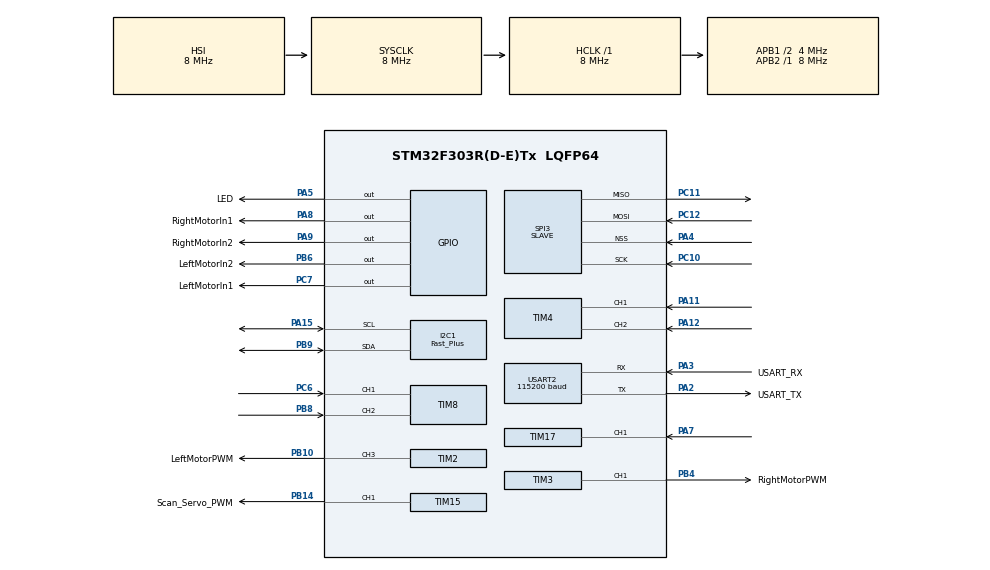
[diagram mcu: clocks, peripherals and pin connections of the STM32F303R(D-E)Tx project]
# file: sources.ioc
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CRC.CRCLength=CRC_POLYLENGTH_8B
CRC.DefaultInitValueUse=DEFAULT_INIT_VALUE_DISABLE
CRC.DefaultPolynomialUse=DEFAULT_POLYNOMIAL_DISABLE
CRC.GeneratingPolynomial=X2+X1+X0
Dma.Request0=TIM2_CH3
Dma.Request1=TIM3_CH1/TRIG
Dma.Request2=USART2_TX
Dma.Request3=SPI3_RX
Dma.Request4=SPI3_TX
Dma.Request5=TIM15_CH1/UP/TRIG/COM
Dma.SPI3_RX.3.Direction=DMA_PERIPH_TO_MEMORY
Dma.SPI3_RX.3.Instance=DMA2_Channel1
Dma.SPI3_RX.3.MemDataAlignment=DMA_MDATAALIGN_BYTE
Dma.SPI3_RX.3.MemInc=DMA_MINC_ENABLE
Dma.SPI3_RX.3.Mode=DMA_NORMAL
Dma.SPI3_RX.3.PeriphDataAlignment=DMA_PDATAALIGN_BYTE
Dma.SPI3_RX.3.PeriphInc=DMA_PINC_DISABLE
Dma.SPI3_RX.3.Priority=DMA_PRIORITY_VERY_HIGH
Dma.SPI3_TX.4.Direction=DMA_MEMORY_TO_PERIPH
Dma.SPI3_TX.4.Instance=DMA2_Channel2
Dma.SPI3_TX.4.MemDataAlignment=DMA_MDATAALIGN_BYTE
Dma.SPI3_TX.4.MemInc=DMA_MINC_ENABLE
Dma.SPI3_TX.4.Mode=DMA_NORMAL
Dma.SPI3_TX.4.PeriphDataAlignment=DMA_PDATAALIGN_BYTE
Dma.SPI3_TX.4.PeriphInc=DMA_PINC_DISABLE
Dma.SPI3_TX.4.Priority=DMA_PRIORITY_VERY_HIGH
Dma.TIM15_CH1/UP/TRIG/COM.5.Direction=DMA_MEMORY_TO_PERIPH
Dma.TIM15_CH1/UP/TRIG/COM.5.Instance=DMA1_Channel5
Dma.TIM15_CH1/UP/TRIG/COM.5.MemDataAlignment=DMA_MDATAALIGN_HALFWORD
Dma.TIM15_CH1/UP/TRIG/COM.5.MemInc=DMA_MINC_DISABLE
Dma.TIM15_CH1/UP/TRIG/COM.5.Mode=DMA_CIRCULAR
Dma.TIM15_CH1/UP/TRIG/COM.5.PeriphDataAlignment=DMA_PDATAALIGN_HALFWORD
Dma.TIM15_CH1/UP/TRIG/COM.5.PeriphInc=DMA_PINC_DISABLE
Dma.TIM15_CH1/UP/TRIG/COM.5.Priority=DMA_PRIORITY_HIGH
Dma.TIM2_CH3.0.Direction=DMA_MEMORY_TO_PERIPH
Dma.TIM2_CH3.0.Instance=DMA1_Channel1
Dma.TIM2_CH3.0.MemDataAlignment=DMA_MDATAALIGN_WORD
Dma.TIM2_CH3.0.MemInc=DMA_MINC_DISABLE
Dma.TIM2_CH3.0.Mode=DMA_CIRCULAR
Dma.TIM2_CH3.0.PeriphDataAlignment=DMA_PDATAALIGN_WORD
Dma.TIM2_CH3.0.PeriphInc=DMA_PINC_DISABLE
Dma.TIM2_CH3.0.Priority=DMA_PRIORITY_HIGH
Dma.TIM3_CH1/TRIG.1.Direction=DMA_MEMORY_TO_PERIPH
Dma.TIM3_CH1/TRIG.1.Instance=DMA1_Channel6
Dma.TIM3_CH1/TRIG.1.MemDataAlignment=DMA_MDATAALIGN_WORD
Dma.TIM3_CH1/TRIG.1.MemInc=DMA_MINC_DISABLE
Dma.TIM3_CH1/TRIG.1.Mode=DMA_CIRCULAR
Dma.TIM3_CH1/TRIG.1.PeriphDataAlignment=DMA_PDATAALIGN_WORD
Dma.TIM3_CH1/TRIG.1.PeriphInc=DMA_PINC_DISABLE
Dma.TIM3_CH1/TRIG.1.Priority=DMA_PRIORITY_HIGH
Dma.USART2_TX.2.Direction=DMA_MEMORY_TO_PERIPH
Dma.USART2_TX.2.Instance=DMA1_Channel7
Dma.USART2_TX.2.MemDataAlignment=DMA_MDATAALIGN_BYTE
Dma.USART2_TX.2.MemInc=DMA_MINC_ENABLE
Dma.USART2_TX.2.Mode=DMA_NORMAL
Dma.USART2_TX.2.PeriphDataAlignment=DMA_PDATAALIGN_BYTE
Dma.USART2_TX.2.PeriphInc=DMA_PINC_DISABLE
Dma.USART2_TX.2.Priority=DMA_PRIORITY_MEDIUM
FREERTOS.Events01=messageReceived,Dynamic,NULL
FREERTOS.Mutexes01=logMutex,Static,logMutexControlBlock,Depleted
FREERTOS.Queues01=controllerMessageQueue,1,struct Message,0,Static,controllerMessageQueueBuffer,controllerMessageQueueControlBlock;controllerInternalMessageQueue,2,struct InternalMessage,0,Static,controllerInternalMessageQueueBuffer,controllerInternalMessageQueueControlBlock;syscomTxMessageQueue,5,struct InternalMessage,0,Static,syscomTxMessageQueueBuffer,syscomTxMessageQueueControlBlock
FREERTOS.Tasks01=controllerTask,24,320,startController,Default,NULL,Static,controllerTaskBuffer,controllerTaskControlBlock;feedbackTask,24,320,startFeedbackTask,Default,NULL,Static,feedbackTaskBuffer,feedbackTaskControlBlock;syscomTask,32,320,startSyscomTask,Default,NULL,Static,syscomTaskBuffer,syscomTaskControlBlock;scanTask,24,320,startScanTask,Default,NULL,Static,scanTaskBuffer,scanTaskControlBlock
FREERTOS.Timers01=syscomMasterTriggerTimer,syscomMasterTriggerTimerCallback,osTimerOnce,As weak,NULL,Static,syscomMasterTriggerTimerControlBlock
FREERTOS.configTOTAL_HEAP_SIZE=16192
FREERTOS.configUSE_NEWLIB_REENTRANT=1
FREERTOS.configUSE_PREEMPTION=1
I2C1.I2C_Speed_Mode=I2C_Fast_Plus
I2C1.Timing=0x00100001
Mcu.Family=STM32F3
Mcu.Name=STM32F303R(D-E)Tx
Mcu.Package=LQFP64
Mcu.UserConstants=SERVO_TIM15_PERIOD,(20000-1);TIM3_PRESCALER,0;TIM2_PERIOD,(10000-1);TIM16_PERIOD,(8000-1);TIM3_PERIOD,(10000 - 1);TIM17_PRESCALER,(16-1);SERVO_TIM15_PRESCALER,(8-1);TIM2_PRESCALER,0;TIM17_PERIOD,(50000-1);TIM16_PRESCALER,(2000-1)
NVIC.DMA1_Channel1_IRQn=true\:5\:0\:false\:false\:true\:true\:false\:true\:true
NVIC.DMA1_Channel5_IRQn=true\:5\:0\:false\:false\:true\:true\:false\:true\:true
NVIC.DMA1_Channel6_IRQn=true\:5\:0\:false\:false\:true\:true\:false\:true\:true
NVIC.DMA1_Channel7_IRQn=true\:5\:0\:false\:false\:true\:true\:false\:true\:true
NVIC.DMA2_Channel1_IRQn=true\:5\:0\:false\:false\:true\:true\:false\:true\:true
NVIC.DMA2_Channel2_IRQn=true\:5\:0\:false\:false\:true\:true\:false\:true\:true
NVIC.FPU_IRQn=true\:5\:0\:false\:false\:true\:true\:true\:false\:true
NVIC.PriorityGroup=NVIC_PRIORITYGROUP_4
NVIC.SPI3_IRQn=true\:5\:0\:false\:false\:true\:true\:true\:true\:true
NVIC.TIM1_TRG_COM_TIM17_IRQn=true\:5\:0\:false\:false\:true\:true\:true\:true\:true
NVIC.TIM6_DAC_IRQn=true\:15\:0\:false\:false\:true\:false\:false\:true\:true
NVIC.TimeBase=TIM6_DAC_IRQn
NVIC.TimeBaseIP=TIM6
NVIC.USART2_IRQn=true\:5\:0\:false\:false\:true\:true\:true\:true\:true
PA11.Signal=S_TIM4_CH1
PA12.Signal=S_TIM4_CH2
PA15.Mode=I2C
PA15.Signal=I2C1_SCL
PA2.GPIO_Label=USART_TX
PA2.GPIO_Mode=GPIO_MODE_AF_PP
PA2.GPIO_PuPd=GPIO_NOPULL
PA2.GPIO_Speed=GPIO_SPEED_FREQ_LOW
PA2.Mode=Asynchronous
PA2.Signal=USART2_TX
PA3.GPIO_Label=USART_RX
PA3.GPIO_Mode=GPIO_MODE_AF_PP
PA3.GPIO_PuPd=GPIO_NOPULL
PA3.GPIO_Speed=GPIO_SPEED_FREQ_LOW
PA3.Mode=Asynchronous
PA3.Signal=USART2_RX
PA4.Mode=NSS_Signal_Hard_Input
PA4.Signal=SPI3_NSS
PA5.GPIO_Label=LED
PA5.GPIO_Mode=GPIO_MODE_OUTPUT_PP
PA5.GPIO_PuPd=GPIO_NOPULL
PA5.GPIO_Speed=GPIO_SPEED_FREQ_LOW
PA5.Signal=GPIO_Output
PA7.GPIO_ModeDefaultPP=GPIO_MODE_AF_PP
PA7.Signal=S_TIM17_CH1
PA8.GPIO_Label=RightMotorIn1
PA8.GPIO_ModeDefaultOutputPP=GPIO_MODE_OUTPUT_OD
PA8.GPIO_PuPd=GPIO_NOPULL
PA8.Signal=GPIO_Output
PA9.GPIO_Label=RightMotorIn2
PA9.GPIO_ModeDefaultOutputPP=GPIO_MODE_OUTPUT_OD
PA9.GPIO_PuPd=GPIO_NOPULL
PA9.Signal=GPIO_Output
PB10.GPIO_Label=LeftMotorPWM
PB10.GPIO_ModeDefaultPP=GPIO_MODE_AF_OD
PB10.Signal=S_TIM2_CH3
PB14.GPIO_Label=Scan_Servo_PWM
PB14.GPIO_ModeDefaultPP=GPIO_MODE_AF_PP
PB14.GPIO_Speed=GPIO_SPEED_FREQ_HIGH
PB14.Signal=S_TIM15_CH1
PB4.GPIO_Label=RightMotorPWM
PB4.GPIO_ModeDefaultPP=GPIO_MODE_AF_OD
PB4.Signal=S_TIM3_CH1
PB6.GPIO_Label=LeftMotorIn2
PB6.GPIO_ModeDefaultOutputPP=GPIO_MODE_OUTPUT_OD
PB6.GPIO_PuPd=GPIO_NOPULL
PB6.Signal=GPIO_Output
PB8.Signal=S_TIM8_CH2
PB9.Mode=I2C
PB9.Signal=I2C1_SDA
PC10.Mode=Full_Duplex_Slave
PC10.Signal=SPI3_SCK
PC11.Mode=Full_Duplex_Slave
PC11.Signal=SPI3_MISO
PC12.Mode=Full_Duplex_Slave
PC12.Signal=SPI3_MOSI
PC6.Signal=S_TIM8_CH1
PC7.GPIO_Label=LeftMotorIn1
PC7.GPIO_ModeDefaultOutputPP=GPIO_MODE_OUTPUT_OD
PC7.GPIO_PuPd=GPIO_NOPULL
PC7.Signal=GPIO_Output
ProjectManager.HeapSize=0x200
ProjectManager.StackSize=0x400
ProjectManager.TargetToolchain=STM32CubeIDE
RCC.AHBFreq_Value=8000000
RCC.APB1CLKDivider=RCC_HCLK_DIV2
RCC.APB1Freq_Value=4000000
RCC.APB1TimFreq_Value=8000000
RCC.APB2Freq_Value=8000000
RCC.APB2TimFreq_Value=8000000
RCC.CortexFreq_Value=8000000
RCC.HCLKFreq_Value=8000000
RCC.HSE_VALUE=8000000
RCC.HSI_VALUE=8000000
RCC.I2c2ClockSelection=RCC_I2C2CLKSOURCE_SYSCLK
RCC.LSE_VALUE=32768
RCC.PLLM=8
RCC.PLLMUL=RCC_PLL_MUL9
RCC.PLLN=336
RCC.PLLP=RCC_PLLP_DIV4
RCC.PLLQ=7
RCC.RCC_PLLsource_Clock_Source_FROM_HSE=RCC_HSE_PREDIV_DIV2
RCC.SYSCLKFreq_VALUE=8000000
RCC.USBFreq_Value=72000000
SH.S_TIM15_CH1.0=TIM15_CH1,PWM Generation1 CH1
SH.S_TIM17_CH1.0=TIM17_CH1,Input_Capture1_from_TI1
SH.S_TIM2_CH3.0=TIM2_CH3,PWM Generation3 CH3
SH.S_TIM3_CH1.0=TIM3_CH1,PWM Generation1 CH1
SH.S_TIM4_CH1.0=TIM4_CH1,Encoder_Interface
SH.S_TIM4_CH2.0=TIM4_CH2,Encoder_Interface
SH.S_TIM8_CH1.0=TIM8_CH1,Encoder_Interface
SH.S_TIM8_CH2.0=TIM8_CH2,Encoder_Interface
SPI3.CLKPhase=SPI_PHASE_2EDGE
SPI3.CLKPolarity=SPI_POLARITY_HIGH
SPI3.DataSize=SPI_DATASIZE_8BIT
SPI3.Direction=SPI_DIRECTION_2LINES
SPI3.Mode=SPI_MODE_SLAVE
SPI3.VirtualNSS=VM_NSSHARD
SPI3.VirtualType=VM_SLAVE
TIM15.AutoReloadPreload=TIM_AUTORELOAD_PRELOAD_ENABLE
TIM15.Channel-PWM\ Generation1\ CH1=TIM_CHANNEL_1
TIM15.OCPolarity_1=TIM_OCPOLARITY_HIGH
TIM15.Period=SERVO_TIM15_PERIOD
TIM15.Prescaler=SERVO_TIM15_PRESCALER
TIM17.AutoReloadPreload=TIM_AUTORELOAD_PRELOAD_ENABLE
TIM17.Channel=TIM_CHANNEL_1
TIM17.Period=TIM17_PERIOD
TIM17.Prescaler=TIM17_PRESCALER
TIM2.AutoReloadPreload=TIM_AUTORELOAD_PRELOAD_ENABLE
TIM2.Channel-PWM\ Generation3\ CH3=TIM_CHANNEL_3
TIM2.Period=TIM2_PERIOD
TIM2.Prescaler=TIM2_PRESCALER
TIM3.AutoReloadPreload=TIM_AUTORELOAD_PRELOAD_ENABLE
TIM3.Channel-PWM\ Generation1\ CH1=TIM_CHANNEL_1
TIM3.Period=TIM3_PERIOD
TIM3.Prescaler=TIM3_PRESCALER
TIM4.EncoderMode=TIM_ENCODERMODE_TI12
TIM8.AutoReloadPreload=TIM_AUTORELOAD_PRELOAD_ENABLE
TIM8.EncoderMode=TIM_ENCODERMODE_TI12
TIM8.IC1Filter=5
TIM8.IC2Filter=5
USART2.BaudRate=115200
USART2.Mode=MODE_TX
USART2.OverrunDisableParam=ADVFEATURE_OVERRUN_DISABLE
USART2.Parity=PARITY_EVEN
USART2.StopBits=STOPBITS_2
USART2.VirtualMode-Asynchronous=VM_ASYNC
USART2.WordLength=WORDLENGTH_9B
VP_CRC_VS_CRC.Mode=CRC_Activate
VP_FREERTOS_VS_CMSIS_V2.Mode=CMSIS_V2
VP_SYS_VS_tim6.Mode=TIM6
VP_TIM17_VS_ClockSourceINT.Mode=Enable_Timer
board=NUCLEO-F303RE

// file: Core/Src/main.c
/* USER CODE BEGIN Header */
/**
  ******************************************************************************
  * @file           : main.c
  * @brief          : Main program body
  ******************************************************************************
  * @attention
  *
  * Copyright (c) 2023 STMicroelectronics.
  * All rights reserved.
  *
  * This software is licensed under terms that can be found in the LICENSE file
  * in the root directory of this software component.
  * If no LICENSE file comes with this software, it is provided AS-IS.
  *
  ******************************************************************************
  */
/* USER CODE END Header */
#include "main.h"
#include "cmsis_os.h"
#include "crc.h"
#include "dma.h"
#include "i2c.h"
#include "spi.h"
#include "tim.h"
#include "usart.h"
#include "gpio.h"

/* USER CODE BEGIN Includes */
#include <main/module.h>
/* USER CODE END Includes */

void SystemClock_Config(void);
void MX_FREERTOS_Init(void);
/* USER CODE BEGIN PFP */
void spi_event(uint8_t spi_instance, uint8_t event_type);
void tim_event(uint8_t tim_instance, uint8_t event_type);
void exti_event(uint8_t gpio_instance, uint8_t event_type);
void i2c_event(uint8_t i2c_instance, uint8_t event_type);
/* USER CODE END PFP */

int main(void)
{

  /* MCU Configuration--------------------------------------------------------*/

  /* Reset of all peripherals, Initializes the Flash interface and the Systick. */
  HAL_Init();

  /* Configure the system clock */
  SystemClock_Config();

  /* Initialize all configured peripherals */
  MX_GPIO_Init();
  MX_DMA_Init();
  MX_USART2_UART_Init();
  MX_TIM2_Init();
  MX_TIM3_Init();
  MX_TIM17_Init();
  MX_TIM8_Init();
  MX_TIM4_Init();
  MX_CRC_Init();
  MX_SPI3_Init();
  MX_I2C1_Init();
  MX_TIM15_Init();

  /* Init scheduler */
  osKernelInitialize();

  /* Call init function for freertos objects (in cmsis_os2.c) */
  MX_FREERTOS_Init();

  /* Start scheduler */
  osKernelStart();

  /* We should never get here as control is now taken by the scheduler */

  /* Infinite loop */
  while (1)
  {

  }
}

void SystemClock_Config(void)
{
  RCC_OscInitTypeDef RCC_OscInitStruct = {0};
  RCC_ClkInitTypeDef RCC_ClkInitStruct = {0};
  RCC_PeriphCLKInitTypeDef PeriphClkInit = {0};

  /** Initializes the RCC Oscillators according to the specified parameters
  * in the RCC_OscInitTypeDef structure.
  */
  RCC_OscInitStruct.OscillatorType = RCC_OSCILLATORTYPE_HSI;
  RCC_OscInitStruct.HSIState = RCC_HSI_ON;
  RCC_OscInitStruct.HSICalibrationValue = RCC_HSICALIBRATION_DEFAULT;
  RCC_OscInitStruct.PLL.PLLState = RCC_PLL_NONE;
  if (HAL_RCC_OscConfig(&RCC_OscInitStruct) != HAL_OK)
  {
    Error_Handler();
  }

  /** Initializes the CPU, AHB and APB buses clocks
  */
  RCC_ClkInitStruct.ClockType = RCC_CLOCKTYPE_HCLK|RCC_CLOCKTYPE_SYSCLK
                              |RCC_CLOCKTYPE_PCLK1|RCC_CLOCKTYPE_PCLK2;
  RCC_ClkInitStruct.SYSCLKSource = RCC_SYSCLKSOURCE_HSI;
  RCC_ClkInitStruct.AHBCLKDivider = RCC_SYSCLK_DIV1;
  RCC_ClkInitStruct.APB1CLKDivider = RCC_HCLK_DIV2;
  RCC_ClkInitStruct.APB2CLKDivider = RCC_HCLK_DIV1;

  if (HAL_RCC_ClockConfig(&RCC_ClkInitStruct, FLASH_LATENCY_0) != HAL_OK)
  {
    Error_Handler();
  }
  PeriphClkInit.PeriphClockSelection = RCC_PERIPHCLK_USART2|RCC_PERIPHCLK_I2C1
                              |RCC_PERIPHCLK_TIM15|RCC_PERIPHCLK_TIM17
                              |RCC_PERIPHCLK_TIM8|RCC_PERIPHCLK_TIM2
                              |RCC_PERIPHCLK_TIM34;
  PeriphClkInit.Usart2ClockSelection = RCC_USART2CLKSOURCE_PCLK1;
  PeriphClkInit.I2c1ClockSelection = RCC_I2C1CLKSOURCE_HSI;
  PeriphClkInit.Tim15ClockSelection = RCC_TIM15CLK_HCLK;
  PeriphClkInit.Tim17ClockSelection = RCC_TIM17CLK_HCLK;
  PeriphClkInit.Tim8ClockSelection = RCC_TIM8CLK_HCLK;
  PeriphClkInit.Tim2ClockSelection = RCC_TIM2CLK_HCLK;
  PeriphClkInit.Tim34ClockSelection = RCC_TIM34CLK_HCLK;
  if (HAL_RCCEx_PeriphCLKConfig(&PeriphClkInit) != HAL_OK)
  {
    Error_Handler();
  }
}

/* USER CODE BEGIN 4 */
//void HAL_GPIO_EXTI_Callback(uint16_t GPIO_Pin)
//{
//    if (GPIO_Pin == RightMotorEncoderB_Pin) exti_event(RIGHT_MOTOR_ENODER_PIN_B, EXTI_EVENT_IT);
//}

void HAL_SPI_TxRxCpltCallback(SPI_HandleTypeDef *hspi)
{
    if (hspi->Instance == SPI3) spi_event(SPI_INSTANCE_3, SPI_EVENT_TX_RX_CPLT);
}

void HAL_I2C_MemRxCpltCallback(I2C_HandleTypeDef *hi2c)
{
    if (hi2c->Instance == I2C2) i2c_event(I2C_INSTANCE_2, I2C_EVENT_MEM_RX_CPLT);
}

/* USER CODE END 4 */

void HAL_TIM_PeriodElapsedCallback(TIM_HandleTypeDef *htim)
{
  if (htim->Instance == TIM6) {
    HAL_IncTick();
  }
  /* USER CODE BEGIN Callback 1 */
  else if (htim->Instance == TIM2) tim_event(TIM_INSTANCE_2, TIM_EVENT_IT);
  else if (htim->Instance == TIM3) tim_event(TIM_INSTANCE_3, TIM_EVENT_IT);
  else if (htim->Instance == TIM16) tim_event(TIM_INSTANCE_16, TIM_EVENT_IT);
  else if (htim->Instance == TIM17) tim_event(TIM_INSTANCE_17, TIM_EVENT_IT);
  /* USER CODE END Callback 1 */
}

void Error_Handler(void)
{
  /* USER CODE BEGIN Error_Handler_Debug */
  /* User can add his own implementation to report the HAL error return state */
  __disable_irq();
  while (1)
  {
      HAL_GPIO_TogglePin(LED_GPIO_Port, LED_Pin);
      HAL_Delay(1000);
  }
  /* USER CODE END Error_Handler_Debug */
}

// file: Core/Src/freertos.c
/* USER CODE BEGIN Header */
/**
  ******************************************************************************
  * File Name          : freertos.c
  * Description        : Code for freertos applications
  ******************************************************************************
  * @attention
  *
  * Copyright (c) 2023 STMicroelectronics.
  * All rights reserved.
  *
  * This software is licensed under terms that can be found in the LICENSE file
  * in the root directory of this software component.
  * If no LICENSE file comes with this software, it is provided AS-IS.
  *
  ******************************************************************************
  */
/* USER CODE END Header */

#include "FreeRTOS.h"
#include "task.h"
#include "main.h"
#include "cmsis_os.h"

/* USER CODE BEGIN Includes */
#include <modules/log/interface.h>
#include <main/defs.h>
#include <main/module.h>
#include <msg/defs/Message.h> // Change to lowercase
#include <msg/message_ids.h> // Change to lowercase
#include <modules/controller/interface.h>
#include <modules/feedback/interface.h>
#include <modules/syscom/interface.h>
#include <modules/scan/interface.h>

#include "crc.h"
#include "i2c.h"
#include "tim.h"
/* USER CODE END Includes */

typedef StaticTask_t osStaticThreadDef_t;
typedef StaticQueue_t osStaticMessageQDef_t;
typedef StaticTimer_t osStaticTimerDef_t;
typedef StaticSemaphore_t osStaticMutexDef_t;
/* USER CODE BEGIN PTD */

enum event_callback_type
{
    MODULE_CALL,
    THREAD_FLAG,
    RAW_CALLBACK
};

typedef void (*direct_call_callback_t)(struct module *);

struct direct_call_callback_info
{
    struct module **module_handle;
    direct_call_callback_t cb;
};

struct thread_flag_callback_info
{
    osThreadId_t *thread_id;
    uint32_t thread_flag;
};

typedef void (*raw_callback_t)();

struct event_subscription
{
    uint8_t source;
    uint8_t event_type;
    enum event_callback_type callback_type;
    union
    {
        struct direct_call_callback_info direct_call_callback_info;
        struct thread_flag_callback_info thread_flag_callback_info;
        raw_callback_t raw_callback;
    } callback;
};

#define CALL_DIRECTLY(subscription_ptr)                                                 \
    if (*(subscription_ptr->callback.direct_call_callback_info.module_handle) != NULL)  \
    {                                                                                   \
        subscription_ptr->callback.direct_call_callback_info.cb(                        \
            *(subscription_ptr->callback.direct_call_callback_info.module_handle));     \
    }

#define SET_FLAG(subscription_ptr)                                            \
    osThreadFlagsSet(                                                         \
        *(subscription_ptr->callback.thread_flag_callback_info.thread_id),    \
          subscription_ptr->callback.thread_flag_callback_info.thread_flag);

/* USER CODE END PTD */

/* USER CODE BEGIN PD */
#define TICKS_PER_HZ 1000U
#define ONE_TICK 1U
/* USER CODE END PD */

/* Definitions for controllerTask */
osThreadId_t controllerTaskHandle;
uint32_t controllerTaskBuffer[ 320 ];
osStaticThreadDef_t controllerTaskControlBlock;
const osThreadAttr_t controllerTask_attributes = {
  .name = "controllerTask",
  .cb_mem = &controllerTaskControlBlock,
  .cb_size = sizeof(controllerTaskControlBlock),
  .stack_mem = &controllerTaskBuffer[0],
  .stack_size = sizeof(controllerTaskBuffer),
  .priority = (osPriority_t) osPriorityNormal,
};
/* Definitions for feedbackTask */
osThreadId_t feedbackTaskHandle;
uint32_t feedbackTaskBuffer[ 320 ];
osStaticThreadDef_t feedbackTaskControlBlock;
const osThreadAttr_t feedbackTask_attributes = {
  .name = "feedbackTask",
  .cb_mem = &feedbackTaskControlBlock,
  .cb_size = sizeof(feedbackTaskControlBlock),
  .stack_mem = &feedbackTaskBuffer[0],
  .stack_size = sizeof(feedbackTaskBuffer),
  .priority = (osPriority_t) osPriorityNormal,
};
/* Definitions for syscomTask */
osThreadId_t syscomTaskHandle;
uint32_t syscomTaskBuffer[ 320 ];
osStaticThreadDef_t syscomTaskControlBlock;
const osThreadAttr_t syscomTask_attributes = {
  .name = "syscomTask",
  .cb_mem = &syscomTaskControlBlock,
  .cb_size = sizeof(syscomTaskControlBlock),
  .stack_mem = &syscomTaskBuffer[0],
  .stack_size = sizeof(syscomTaskBuffer),
  .priority = (osPriority_t) osPriorityAboveNormal,
};
/* Definitions for scanTask */
osThreadId_t scanTaskHandle;
uint32_t scanTaskBuffer[ 320 ];
osStaticThreadDef_t scanTaskControlBlock;
const osThreadAttr_t scanTask_attributes = {
  .name = "scanTask",
  .cb_mem = &scanTaskControlBlock,
  .cb_size = sizeof(scanTaskControlBlock),
  .stack_mem = &scanTaskBuffer[0],
  .stack_size = sizeof(scanTaskBuffer),
  .priority = (osPriority_t) osPriorityNormal,
};
/* Definitions for controllerMessageQueue */
osMessageQueueId_t controllerMessageQueueHandle;
uint8_t controllerMessageQueueBuffer[ 1 * sizeof( struct Message ) ];
osStaticMessageQDef_t controllerMessageQueueControlBlock;
const osMessageQueueAttr_t controllerMessageQueue_attributes = {
  .name = "controllerMessageQueue",
  .cb_mem = &controllerMessageQueueControlBlock,
  .cb_size = sizeof(controllerMessageQueueControlBlock),
  .mq_mem = &controllerMessageQueueBuffer,
  .mq_size = sizeof(controllerMessageQueueBuffer)
};
/* Definitions for controllerInternalMessageQueue */
osMessageQueueId_t controllerInternalMessageQueueHandle;
uint8_t controllerInternalMessageQueueBuffer[ 2 * sizeof( struct InternalMessage ) ];
osStaticMessageQDef_t controllerInternalMessageQueueControlBlock;
const osMessageQueueAttr_t controllerInternalMessageQueue_attributes = {
  .name = "controllerInternalMessageQueue",
  .cb_mem = &controllerInternalMessageQueueControlBlock,
  .cb_size = sizeof(controllerInternalMessageQueueControlBlock),
  .mq_mem = &controllerInternalMessageQueueBuffer,
  .mq_size = sizeof(controllerInternalMessageQueueBuffer)
};
/* Definitions for syscomTxMessageQueue */
osMessageQueueId_t syscomTxMessageQueueHandle;
uint8_t syscomTxMessageQueueBuffer[ 5 * sizeof( struct InternalMessage ) ];
osStaticMessageQDef_t syscomTxMessageQueueControlBlock;
const osMessageQueueAttr_t syscomTxMessageQueue_attributes = {
  .name = "syscomTxMessageQueue",
  .cb_mem = &syscomTxMessageQueueControlBlock,
  .cb_size = sizeof(syscomTxMessageQueueControlBlock),
  .mq_mem = &syscomTxMessageQueueBuffer,
  .mq_size = sizeof(syscomTxMessageQueueBuffer)
};
/* Definitions for syscomMasterTriggerTimer */
osTimerId_t syscomMasterTriggerTimerHandle;
osStaticTimerDef_t syscomMasterTriggerTimerControlBlock;
const osTimerAttr_t syscomMasterTriggerTimer_attributes = {
  .name = "syscomMasterTriggerTimer",
  .cb_mem = &syscomMasterTriggerTimerControlBlock,
  .cb_size = sizeof(syscomMasterTriggerTimerControlBlock),
};
/* Definitions for logMutex */
osMutexId_t logMutexHandle;
osStaticMutexDef_t logMutexControlBlock;
const osMutexAttr_t logMutex_attributes = {
  .name = "logMutex",
  .cb_mem = &logMutexControlBlock,
  .cb_size = sizeof(logMutexControlBlock),
};
/* Definitions for messageReceived */
osEventFlagsId_t messageReceivedHandle;
const osEventFlagsAttr_t messageReceived_attributes = {
  .name = "messageReceived"
};

/* USER CODE BEGIN FunctionPrototypes */
void log_uart_handler(UART_HandleTypeDef *huart);
void send_syscom_message_handler(const struct Message *msg);
/* USER CODE END FunctionPrototypes */

void startController(void *argument);
void startFeedbackTask(void *argument);
void startSyscomTask(void *argument);
void startScanTask(void *argument);
void syscomMasterTriggerTimerCallback(void *argument);

void MX_FREERTOS_Init(void); /* (MISRA C 2004 rule 8.1) */

void MX_FREERTOS_Init(void) {
  /* Create the mutex(es) */
  /* creation of logMutex */
  logMutexHandle = osMutexNew(&logMutex_attributes);

  /* USER CODE BEGIN RTOS_MUTEX */
  /* add mutexes, ... */
    configure_log(&logMutexHandle, transmit_uart2);
  /* USER CODE END RTOS_MUTEX */

  /* Create the timer(s) */
  /* creation of syscomMasterTriggerTimer */
  syscomMasterTriggerTimerHandle = osTimerNew(syscomMasterTriggerTimerCallback, osTimerOnce, NULL, &syscomMasterTriggerTimer_attributes);

  /* Create the queue(s) */
  /* creation of controllerMessageQueue */
  controllerMessageQueueHandle = osMessageQueueNew (1, sizeof(struct Message), &controllerMessageQueue_attributes);

  /* creation of controllerInternalMessageQueue */
  controllerInternalMessageQueueHandle = osMessageQueueNew (2, sizeof(struct InternalMessage), &controllerInternalMessageQueue_attributes);

  /* creation of syscomTxMessageQueue */
  syscomTxMessageQueueHandle = osMessageQueueNew (5, sizeof(struct InternalMessage), &syscomTxMessageQueue_attributes);

  /* Create the thread(s) */
  /* creation of controllerTask */
  controllerTaskHandle = osThreadNew(startController, NULL, &controllerTask_attributes);

  /* creation of feedbackTask */
  feedbackTaskHandle = osThreadNew(startFeedbackTask, NULL, &feedbackTask_attributes);

  /* creation of syscomTask */
  syscomTaskHandle = osThreadNew(startSyscomTask, NULL, &syscomTask_attributes);

  /* creation of scanTask */
  scanTaskHandle = osThreadNew(startScanTask, NULL, &scanTask_attributes);

  /* creation of messageReceived */
  messageReceivedHandle = osEventFlagsNew(&messageReceived_attributes);

}

/* USER CODE BEGIN Header_startController */

static struct motor_info left_motor_info = {
    .pinout={
        .motorControl1Port=LeftMotorIn1_GPIO_Port,
        .motorControl1Pin=LeftMotorIn1_Pin,
        .motorControl2Port=LeftMotorIn2_GPIO_Port,
        .motorControl2Pin=LeftMotorIn2_Pin,
    },
    .start_pwm=start_tim_2_pwm_dma,
};

static struct motor_info right_motor_info = {
    .pinout={
        .motorControl1Port=RightMotorIn1_GPIO_Port,
        .motorControl1Pin=RightMotorIn1_Pin,
        .motorControl2Port=RightMotorIn2_GPIO_Port,
        .motorControl2Pin=RightMotorIn2_Pin,
    },
    .start_pwm=start_tim_3_pwm_dma,
};

static struct controller_data controller_module_data = {
    .controller_thread_handle=&controllerTaskHandle,
    .message_queue_handle=&controllerMessageQueueHandle,
    .internal_message_queue_handle=&controllerInternalMessageQueueHandle,
    .left_motor_info=&left_motor_info,
    .right_motor_info=&right_motor_info,
};

static struct module *controller_module_handle;

/**
  * @brief  Function implementing the controllerTask thread.
  * @param  argument: Not used
  * @retval None
  */
/* USER CODE END Header_startController */
void startController(void *argument)
{
  /* USER CODE BEGIN startController */
    (void)argument;

    struct module controller_module;

    controller_module_handle = &controller_module;

    module_set_data(controller_module_handle, &controller_module_data);
    controller_module_init(controller_module_handle);

     LOG_INFO("[controller] Start\n");
    /* Infinite loop */
    for(;;)
    {
        MODULE_WORK(controller_module_handle);
    }
  /* USER CODE END startController */
}

/* USER CODE BEGIN Header_startFeedbackTask */
static struct message_subscription feedback_subscribers[] = {
    {.msg_id=SPEED_VALUES_MSG_ID, .subscription_queue=&controllerInternalMessageQueueHandle},
    {.msg_id=SPEED_VALUES_MSG_ID, .subscription_queue=&syscomTxMessageQueueHandle},
    {.msg_id=IMU_VALUES_MSG_ID, .subscription_queue=&syscomTxMessageQueueHandle},
};

static struct tim_ops feedback_timers_ops[] = {
    [FEEDBACK_TIMER_INDEX] = {.start_tim=start_tim_17_it}
};

static struct ext_dev_ops feedback_ext_dev_ops = {
    .read_ext_dev_mem=read_i2c2_mem,
    .read_ext_dev_mem_non_blocking=start_i2c2_dma_mem_reception
};

static struct encoder_data left_encoder_info = {
    .start_encoder=start_tim_8_encoder,
    .get_encoder_pulses=get_tim_8_encoder_count
};

static struct encoder_data right_encoder_info = {
    .start_encoder=start_tim_4_encoder,
    .get_encoder_pulses=get_tim_4_encoder_count
};

static struct feedback_data feedback_internal_data = {
    .feedback_thread_handle=&feedbackTaskHandle,
    .left_encoder_data=&left_encoder_info,
    .right_encoder_data=&right_encoder_info,
};

static struct module *feedback_module_handle;

/**
* @brief Function implementing the feedbackTask thread.
* @param argument: Not used
* @retval None
*/
/* USER CODE END Header_startFeedbackTask */
void startFeedbackTask(void *argument)
{
  /* USER CODE BEGIN startFeedbackTask */
    (void)argument;

    feedback_internal_data.subs = feedback_subscribers;
    feedback_internal_data.subs_len = ARRAY_LEN(feedback_subscribers);

    struct module feedback_module = {
        .ops.timers_ops=feedback_timers_ops,
        .ops.external_devices_ops=&feedback_ext_dev_ops
    };
    feedback_module_handle = &feedback_module;

    module_set_data(feedback_module_handle, &feedback_internal_data);
    feedback_module_init(feedback_module_handle);
    LOG_INFO("[feedback] Start\n");

    /* Infinite loop */
    for(;;)
    {
        MODULE_WORK(feedback_module_handle);
    }
  /* USER CODE END startFeedbackTask */
}

/* USER CODE BEGIN Header_startSyscomTask */
static struct message_subscription syscom_subscriptions[] = {
    {.msg_id=CMD_SET_MOTOR_SPEED_ID, .subscription_queue=&controllerMessageQueueHandle},
    {.msg_id=CMD_SET_MOTOR_PWM_VALUE_ID, .subscription_queue=&controllerMessageQueueHandle},
};

static struct comm_ops syscom_comm_ops[] = {
    [SYSCOM_SPI_COMM_INDEX] = {
        .read_non_blocking=start_spi_2_dma_reception,
        .write_non_blocking=start_spi_2_dma_transfer,
        .write_and_read_non_blocking=start_spi2_dma_transfer_and_reception,
        .calculate_crc=crc_calculate,
    }
};

static struct syscom_data syscom_task_data = {
    .syscom_thread_handle=&syscomTaskHandle,
    .transferred_messages_queue_handle=&syscomTxMessageQueueHandle,
};

static struct module *syscom_module_handle;
typedef void (*module_os_timer_callback)(struct module*);
static module_os_timer_callback syscom_os_timer_callback = NULL;

// TODO: move it somewhere else - it's not a part of global setup
void send_syscom_message_handler(const struct Message *msg)
{
    if (osMessageQueuePut(syscomTxMessageQueueHandle, msg, 0, 0) != osOK)
    {
        LOG_INFO("[syscom] Fail sending message\n");
    }
    osThreadFlagsSet(syscomTaskHandle, DATA_TX_BUFFERED_THREAD_FLAG);
}

/**
* @brief Function implementing the syscomTask thread.
* @param argument: Not used
* @retval None
*/
/* USER CODE END Header_startSyscomTask */
void startSyscomTask(void *argument)
{
  /* USER CODE BEGIN startSyscomTask */
    (void)argument;

    syscom_task_data.subs = syscom_subscriptions;
    syscom_task_data.subs_len = ARRAY_LEN(syscom_subscriptions);

    struct module syscom_module = {
        .ops.communication_ops = syscom_comm_ops
    };
    syscom_module_handle = &syscom_module;

    module_set_data(syscom_module_handle, &syscom_task_data);
    syscom_module_init(syscom_module_handle);
    syscom_os_timer_callback = syscom_module_timer_callback;

    LOG_INFO("[syscom] Start\n");
    /* Infinite loop */
    for(;;)
    {
        MODULE_WORK(syscom_module_handle);
    }
  /* USER CODE END startSyscomTask */
}

/* USER CODE BEGIN Header_startScanTask */

static struct scan_data scan_module_data = {
    .scan_thread_handle = &scanTaskHandle,
    .start_pwm = start_tim_15_pwm_dma,
};

static struct module *scan_module_handle;

/**
* @brief Function implementing the scanTask thread.
* @param argument: Not used
* @retval None
*/
/* USER CODE END Header_startScanTask */
void startScanTask(void *argument)
{
  /* USER CODE BEGIN startScanTask */
    (void)argument;

    struct module scan_module;
    scan_module_handle = &scan_module;

    module_set_data(scan_module_handle, &scan_module_data);
    scan_module_init(scan_module_handle);

    LOG_INFO("[scan] Start\n");

    /* Infinite loop */
    for(;;)
    {
        MODULE_WORK(scan_module_handle);
    }
  /* USER CODE END startScanTask */
}

/* syscomMasterTriggerTimerCallback function */
__weak void syscomMasterTriggerTimerCallback(void *argument)
{
  /* USER CODE BEGIN syscomMasterTriggerTimerCallback */
  (void)argument;
  (*syscom_os_timer_callback)(syscom_module_handle);
  /* USER CODE END syscomMasterTriggerTimerCallback */
}

/* USER CODE BEGIN Application */

#define SUBSCRIPTIONS_LEN 3
static struct event_subscription spi_subscriptions[SUBSCRIPTIONS_LEN] = {
    {
        .event_type=SPI_EVENT_TX_RX_CPLT,
        .source=SPI_INSTANCE_3,
        .callback_type=THREAD_FLAG,
        .callback.thread_flag_callback_info={
            .thread_id=&syscomTaskHandle,
            .thread_flag=DATA_RECEIVED_THREAD_FLAG,
        }
    }
};

void spi_event(uint8_t instance, uint8_t event)
{
    struct event_subscription *ptr = spi_subscriptions;
    for (int i = 0; i < SUBSCRIPTIONS_LEN; ++i)
    {
        if ((ptr->source == instance) && (ptr->event_type == event))
        {
            if (ptr->callback_type == RAW_CALLBACK)
            {
                ptr->callback.raw_callback();
            }
            else if (ptr->callback_type == MODULE_CALL)
            {
                CALL_DIRECTLY(ptr);
            }
            else if (ptr->callback_type == THREAD_FLAG)
            {
                SET_FLAG(ptr)
            }
        }
        ++ptr;
    }
}

static struct event_subscription tim_subscriptions[] = {
    {
        .event_type=TIM_EVENT_IT,
        .source=TIM_INSTANCE_17,
        .callback_type=MODULE_CALL,
        .callback.direct_call_callback_info={
            .cb=feedback_timer_callback,
            .module_handle=&feedback_module_handle
        }
    }
};

void tim_event(uint8_t instance, uint8_t event_type)
{
    static int length = sizeof(tim_subscriptions) / sizeof(struct event_subscription);
    struct event_subscription *ptr;
    for (int i = 0; i < length; ++i)
    {
        ptr = tim_subscriptions + i;
        if ((ptr->source == instance) && (ptr->event_type == event_type))
        {
            if (ptr->callback_type == MODULE_CALL)
            {
                CALL_DIRECTLY(ptr)
            }
            else if (ptr->callback_type == THREAD_FLAG)
            {
                SET_FLAG(ptr)
            }
        }
    }
}

static struct event_subscription exti_subscriptions[] = {
    {
        .event_type=EXTI_EVENT_IT,
        .source=0,
        .callback_type=MODULE_CALL,
        .callback.direct_call_callback_info={
            .cb=NULL,
            .module_handle=&feedback_module_handle
        }
    },
};

void exti_event(uint8_t instance, uint8_t event_type)
{
    static int length = sizeof(exti_subscriptions) / sizeof(struct event_subscription);
    struct event_subscription *ptr;
    for (int i = 0; i < length; ++i)
    {
        ptr = exti_subscriptions + i;
        if ((ptr->source == instance) && (ptr->event_type == event_type))
        {
            if (ptr->callback_type == MODULE_CALL)
            {
                CALL_DIRECTLY(ptr)
            }
            else if (ptr->callback_type == THREAD_FLAG)
            {
                SET_FLAG(ptr)
            }
        }
    }
}

static struct event_subscription i2c_subscriptions[] = {
    {
        .event_type=I2C_EVENT_MEM_RX_CPLT,
        .source=I2C_INSTANCE_2,
        .callback_type=THREAD_FLAG,
        .callback.thread_flag_callback_info={
            .thread_id=&feedbackTaskHandle,
            .thread_flag=IMU_DATA_READY_FLAG,
        }
    },
};

void i2c_event(uint8_t instance, uint8_t event_type)
{
    static int length = sizeof(i2c_subscriptions) / sizeof(struct event_subscription);
    struct event_subscription *ptr;
    for (int i = 0; i < length; ++i)
    {
        ptr = i2c_subscriptions + i;
        if ((ptr->source == instance) && (ptr->event_type == event_type))
        {
            if (ptr->callback_type == MODULE_CALL)
            {
                CALL_DIRECTLY(ptr)
            }
            else if (ptr->callback_type == THREAD_FLAG)
            {
                SET_FLAG(ptr)
            }
        }
    }
}

/* USER CODE END Application */
